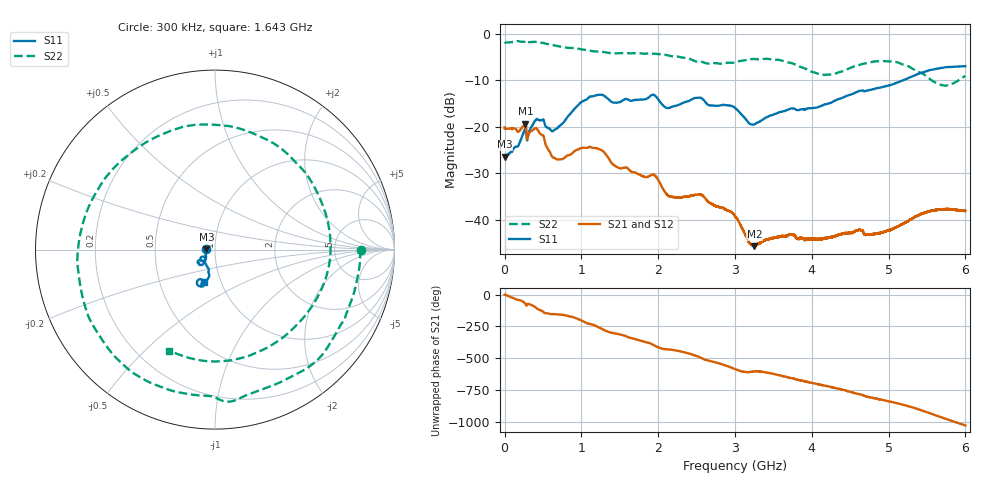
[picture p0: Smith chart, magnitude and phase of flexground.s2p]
!  8/6/2020  01:33:37
! Ref Plane: 0.000 mm
# MHZ S MA R  50
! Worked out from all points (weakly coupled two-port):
!   10001 points, 300 kHz to 6 GHz, reference 50 ohm
!   highest |S21| = -19.28 dB at 270.3 MHz (marker M1); lowest = -45.7 dB at 3.253 GHz (marker M2)
!   lowest |S11| = -26.4 dB at 900 kHz (marker M3), VSWR 1.10, Z = 45.5 + j0.0758 ohm
!   |S11| at or under -10 dB: start of sweep to 5.186 GHz
!   |S22| runs from -11.2 to -1.4 dB; largest |S21 - S12| = 0.0022
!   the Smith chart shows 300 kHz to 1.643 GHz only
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0.3  0.04771 178.5  0.09879 -1.1  0.0966 -0.8  0.8155 -0.3
0.9  0.04766 179.0  0.09494 -0.5  0.09537 -0.3  0.8099 -0.5
270.2865  0.09694 -141.4  0.1086 -72.0  0.1086 -72.1  0.8352 -79.6
604.4698  0.09176 -135.2  0.05026 -153.4  0.05034 -153.4  0.7665 -177.6
824.0588  0.1296 -106.4  0.0495 -167.6  0.0496 -167.6  0.7101 122.2
1000.45  0.1849 -105.7  0.05928 156.6  0.05937 156.6  0.6829 73.1
1254.237  0.2221 -114.2  0.0565 94.9  0.05654 94.9  0.6434 -2.4
1532.623  0.192 -107.7  0.03607 43.7  0.03607 43.7  0.6228 -83.6
1778.011  0.1966 -105.2  0.03007 -3.0  0.03009 -3.2  0.6168 -150.3
2000.6  0.1979 -112.8  0.02681 -53.7  0.02683 -53.8  0.6075 152.8
2261.587  0.1719 -90.4  0.0175 -81.4  0.01753 -81.5  0.5693 85.7
2542.973  0.2064 -90.5  0.0189 -131.2  0.01891 -131.3  0.5051 6.1
2776.361  0.1689 -82.8  0.01383 -175.6  0.0138 -175.7  0.4823 -65.7
3000.15  0.1598 -83.7  0.01093 136.1  0.01095 136.4  0.4928 -132.7
3253.337  0.1064 -58.0  0.005205 118.6  0.005233 118.6  0.5385 161.7
3586.921  0.1447 -31.0  0.006634 87.3  0.006644 86.9  0.5227 82.6
4000.3  0.1592 -13.0  0.006225 28.6  0.00627 29.2  0.3916 -29.4
4221.089  0.1789 0.9  0.006419 0.6  0.006448 0.6  0.3653 -104.8
4485.676  0.2199 10.8  0.007252 -39.5  0.007283 -39.5  0.4255 172.0
5000.45  0.2785 23.2  0.007735 -115.4  0.007675 -115.5  0.5064 52.0
5506.225  0.4004 29.2  0.01218 157.8  0.01216 157.8  0.3428 -70.8
6000  0.4498 22.4  0.01245 55.8  0.01243 55.8  0.3542 116.3
